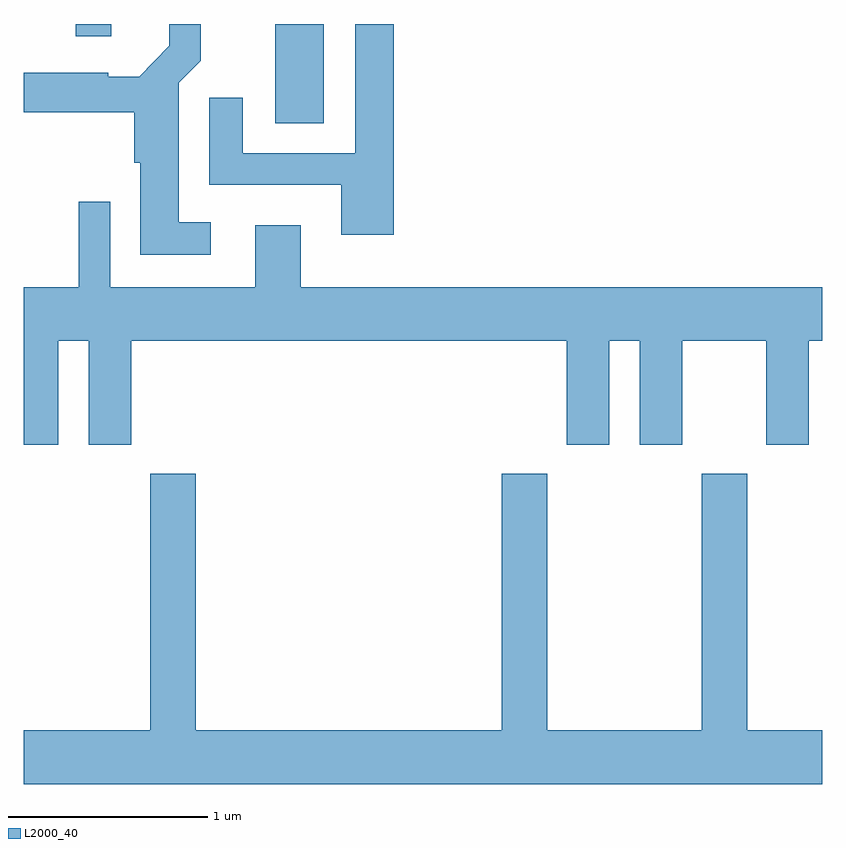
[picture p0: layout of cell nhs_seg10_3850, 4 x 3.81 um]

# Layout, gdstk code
import gdstk
lib = gdstk.Library(unit=1e-6, precision=1e-09)
def R(c, l, rs):  # rectangles x0, y0, x1, y1
    for r in rs: c.add(gdstk.rectangle(r[:2], r[2:], *l))
def P(c, l, *ps):  # polygons
    for p in ps: c.add(gdstk.Polygon(p, *l))
L2000_40 = (2000, 40)

nhs_seg10_3850 = lib.new_cell('nhs_seg10_3850')
R(nhs_seg10_3850, L2000_40, [(298.871,2206.026,299.114,2206.522), (297.871,2206.461,298.049,2206.522)])
P(nhs_seg10_3850, L2000_40, [(298.548,2205.529),(298.389,2205.529),(298.389,2206.229),(298.499,2206.339),(298.499,2206.522),(298.341,2206.522),(298.341,2206.412),(298.189,2206.259),(298.034,2206.259),(298.034,2206.279),(297.611,2206.279),(297.611,2206.081),(298.166,2206.081),(298.166,2205.826),(298.196,2205.826),(298.196,2205.366),(298.548,2205.366)],
  [(299.464,2206.522),(299.271,2206.522),(299.271,2205.874),(298.709,2205.874),(298.709,2206.153),(298.541,2206.153),(298.541,2205.716),(299.201,2205.716),(299.201,2205.466),(299.464,2205.466)],
  [(297.784,2204.936),(297.936,2204.936),(297.936,2204.416),(298.149,2204.416),(298.149,2204.936),(300.331,2204.936),(300.331,2204.416),(300.544,2204.416),(300.544,2204.936),(300.696,2204.936),(300.696,2204.416),(300.909,2204.416),(300.909,2204.936),(301.331,2204.936),(301.331,2204.416),(301.544,2204.416),(301.544,2204.936),(301.611,2204.936),(301.611,2205.204),(298.999,2205.204),(298.999,2205.514),(298.771,2205.514),(298.771,2205.204),(298.044,2205.204),(298.044,2205.633),(297.886,2205.633),(297.886,2205.204),(297.611,2205.204),(297.611,2204.416),(297.784,2204.416)],
  [(301.611,2202.984),(301.234,2202.984),(301.234,2204.269),(301.006,2204.269),(301.006,2202.984),(300.234,2202.984),(300.234,2204.269),(300.006,2204.269),(300.006,2202.984),(298.474,2202.984),(298.474,2204.269),(298.246,2204.269),(298.246,2202.984),(297.611,2202.984),(297.611,2202.716),(301.611,2202.716)])

lib.write_gds('nhs_seg10_3850.gds')
